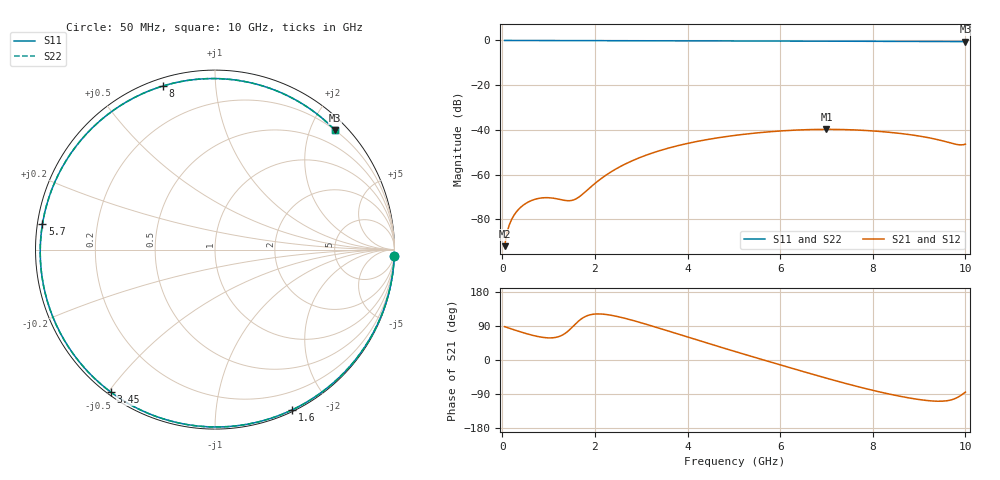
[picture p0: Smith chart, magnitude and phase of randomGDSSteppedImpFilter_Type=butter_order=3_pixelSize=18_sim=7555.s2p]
! freq	dB(S11)	phase(S11)	dB(S12)	phase(S12)
!  dB(S21)	phase(S21)	dB(S22)	phase(S22)
!S-par simulation data
#  GHz  S  DB  R 50
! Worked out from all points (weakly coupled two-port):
!   200 points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, 50 MHz to 10 GHz, reference 50 ohm
!   highest |S21| = -39.76 dB at 7 GHz (marker M1); lowest = -92.0 dB at 50 MHz (marker M2)
!   lowest |S11| = -0.5 dB at 10 GHz (marker M3), VSWR 34.23, Z = 10 + j121 ohm
!   |S11| at or under -10 dB: nowhere
!   |S22| runs from -0.5 to 0.0 dB; largest |S21 - S12| = 0
!   S11 on the Smith chart (normalised r, x): 50 MHz: 0, -54; 1.6 GHz: 0.02, -1.59; 3.45 GHz: 0.01, -0.51; 5.7 GHz: 0.01, +0.07; 8 GHz: 0.03, +0.73; 10 GHz: 0.20, +2.41
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0.05  -0.00 -2.1  -92.01 88.0  -92.01 88.0  -0.00 -2.1
0.2  -0.01 -8.4  -80.12 81.8  -80.12 81.8  -0.01 -8.4
0.4  -0.02 -16.7  -74.57 74.0  -74.57 74.0  -0.02 -16.7
0.7  -0.04 -29.0  -71.09 63.8  -71.09 63.8  -0.04 -29.1
1  -0.05 -41.1  -70.34 58.3  -70.34 58.3  -0.05 -41.1
1.45  -0.07 -58.6  -71.69 79.5  -71.69 79.5  -0.07 -58.7
1.6  -0.08 -64.3  -70.76 97.5  -70.76 97.5  -0.08 -64.3
1.75  -0.08 -69.8  -68.48 112.0  -68.48 112.0  -0.08 -69.9
2.15  -0.10 -84.2  -61.56 121.3  -61.56 121.3  -0.10 -84.2
2.5  -0.11 -96.1  -56.94 114.4  -56.94 114.4  -0.11 -96.2
3.4  -0.14 -124.6  -49.28 83.4  -49.28 83.4  -0.14 -124.6
3.45  -0.15 -126.1  -48.97 81.6  -48.97 81.6  -0.14 -126.1
4.25  -0.18 -149.1  -44.99 51.2  -44.99 51.2  -0.18 -149.2
5.05  -0.21 -171.0  -42.39 21.5  -42.39 21.5  -0.21 -171.0
5.7  -0.25 171.6  -40.97 -2.0  -40.97 -2.0  -0.25 171.6
6.7  -0.31 144.6  -39.83 -37.6  -39.83 -37.6  -0.31 144.6
7  -0.33 136.3  -39.76 -48.0  -39.76 -48.0  -0.33 136.3
8  -0.39 107.6  -40.47 -80.0  -40.47 -80.0  -0.39 107.7
8.35  -0.41 97.1  -41.07 -89.7  -41.07 -89.7  -0.41 97.2
9.15  -0.45 72.2  -43.28 -106.7  -43.28 -106.7  -0.45 72.4
9.8  -0.49 51.3  -46.46 -100.5  -46.46 -100.5  -0.49 51.5
10  -0.51 44.8  -46.40 -84.7  -46.40 -84.7  -0.51 45.0
